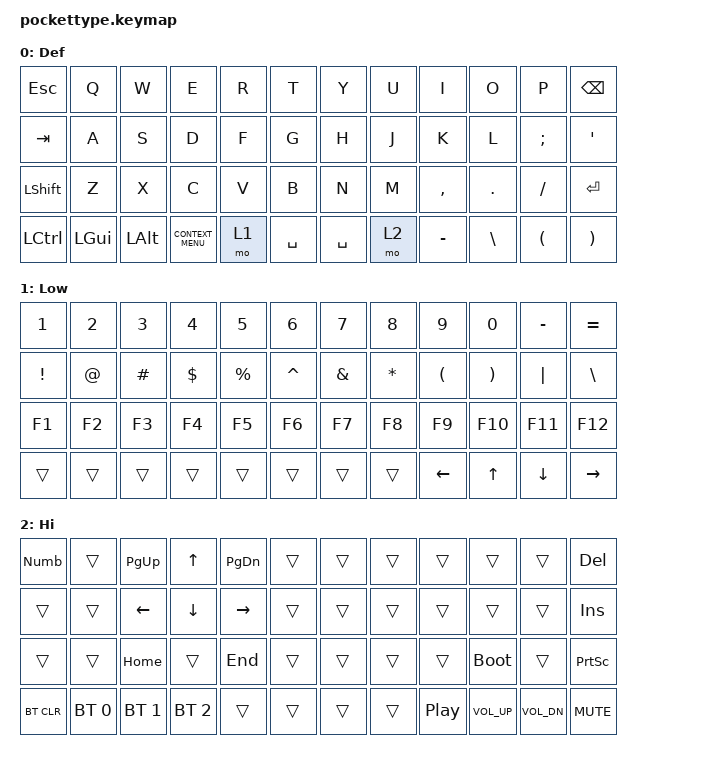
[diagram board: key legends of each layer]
/*
 * Copyright (c) 2020 The ZMK Contributors
 *
 * SPDX-License-Identifier: MIT
 */

#include <behaviors.dtsi>
#include <dt-bindings/zmk/bt.h>
#include <dt-bindings/zmk/keys.h>

/ {
    combos {
        compatible = "zmk,combos";

        unlock {
            bindings = <&studio_unlock>;
            key-positions = <0 47>;
            layers = <0 1 2>;
        };
    };

    macros {
        Numb: Numb {
            compatible = "zmk,behavior-macro";
            #binding-cells = <0>;
            bindings =
                <&macro_tap>,
                <&kp N1 &kp N8 &kp N5 &kp N2 &kp N1 &kp N2 &kp ENTER>;

            label = "NUMB";
            wait-ms = <10>;
        };
    };

    keymap {
        compatible = "zmk,keymap";

        default_layer {
            bindings = <
&kp ESCAPE  &kp Q     &kp W     &kp E               &kp R  &kp T      &kp Y      &kp U  &kp I      &kp O          &kp P                 &kp BSPC
&kp TAB     &kp A     &kp S     &kp D               &kp F  &kp G      &kp H      &kp J  &kp K      &kp L          &kp SEMICOLON         &kp SINGLE_QUOTE
&kp LSHFT   &kp Z     &kp X     &kp C               &kp V  &kp B      &kp N      &kp M  &kp COMMA  &kp DOT        &kp SLASH             &kp ENTER
&kp LCTRL   &kp LGUI  &kp LALT  &kp K_CONTEXT_MENU  &mo 1  &kp SPACE  &kp SPACE  &mo 2  &kp MINUS  &kp BACKSLASH  &kp LEFT_PARENTHESIS  &kp RPAR
            >;

            label = "Def";
        };

        lower_layer {
            bindings = <
&kp N1    &kp N2  &kp N3    &kp N4    &kp N5     &kp N6     &kp N7    &kp N8     &kp N9    &kp N0    &kp MINUS  &kp EQUAL
&kp EXCL  &kp AT  &kp HASH  &kp DLLR  &kp PRCNT  &kp CARET  &kp AMPS  &kp ASTRK  &kp LPAR  &kp RPAR  &kp PIPE   &kp BSLH
&kp F1    &kp F2  &kp F3    &kp F4    &kp F5     &kp F6     &kp F7    &kp F8     &kp F9    &kp F10   &kp F11    &kp F12
&trans    &trans  &trans    &trans    &trans     &trans     &trans    &trans     &kp LEFT  &kp UP    &kp DOWN   &kp RIGHT
            >;

            label = "Low";
        };

        raise_layer {
            bindings = <
&Numb       &trans        &kp PG_UP     &kp UP        &kp PG_DN  &trans  &trans  &trans  &trans            &trans        &trans        &kp DEL
&trans      &trans        &kp LEFT      &kp DOWN      &kp RIGHT  &trans  &trans  &trans  &trans            &trans        &trans        &kp INSERT
&trans      &trans        &kp HOME      &trans        &kp END    &trans  &trans  &trans  &trans            &bootloader   &trans        &kp PSCRN
&bt BT_CLR  &bt BT_SEL 0  &bt BT_SEL 1  &bt BT_SEL 2  &trans     &trans  &trans  &trans  &kp C_PLAY_PAUSE  &kp C_VOL_UP  &kp C_VOL_DN  &kp C_MUTE
            >;

            label = "Hi";
        };
    };
};
